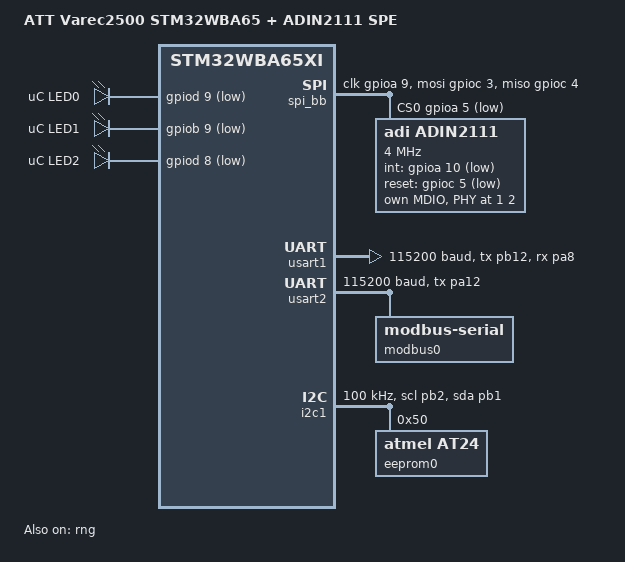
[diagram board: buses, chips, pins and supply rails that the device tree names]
/*
#include <zephyr/dt-bindings/i2c/i2c.h>
 * ATT Varec2500 board: STM32WBA65RIV6 + ADIN2111 (2-port SPE)
 * SPDX-License-Identifier: Apache-2.0
 */
/dts-v1/;
#include <st/wba/stm32wba65Xi.dtsi>
#include <st/wba/stm32wba65rivx-pinctrl.dtsi>

/ {
	model = "ATT Varec2500 STM32WBA65 + ADIN2111 SPE";
	compatible = "adi,att-wba65";

	chosen {
		zephyr,console = &usart1;
		zephyr,shell-uart = &usart1;
		zephyr,sram = &sram0;
		zephyr,flash = &flash0;
		zephyr,code-partition = &slot0_partition;
	};

	leds: leds {
		compatible = "gpio-leds";
		uc_led_0: led_0 {
			gpios = <&gpiod 9 GPIO_ACTIVE_LOW>;
			label = "uC LED0";
		};
		uc_led_1: led_1 {
			gpios = <&gpiob 9 GPIO_ACTIVE_LOW>;
			label = "uC LED1";
		};
		uc_led_2: led_2 {
			gpios = <&gpiod 8 GPIO_ACTIVE_LOW>;
			label = "uC LED2";
		};
	};

	aliases {
		led0 = &uc_led_0;
		led1 = &uc_led_1;
		led2 = &uc_led_2;
	};
};

&clk_lse { status = "okay"; };
&clk_hse {
	status = "okay";
	/delete-property/ hse-trimming;
};
&clk_hsi { status = "okay"; };

&rcc {
	clocks = <&clk_hse>;
	clock-frequency = <DT_FREQ_M(32)>;
	ahb-prescaler = <1>;
	ahb5-prescaler = <1>;
	apb1-prescaler = <1>;
	apb2-prescaler = <2>;
	apb7-prescaler = <1>;
};

&pwr { power-supply = "smps"; };

&usart1 {
	clocks = <&rcc STM32_CLOCK(APB2, 14)>,
		 <&rcc STM32_SRC_HSI16 USART1_SEL(2)>;
	pinctrl-0 = <&usart1_tx_pb12 &usart1_rx_pa8>;
	pinctrl-names = "default";
	current-speed = <115200>;
	status = "okay";
};

&flash0 {
	partitions {
		#address-cells = <1>;
		#size-cells = <1>;
		ranges;

		slot0_partition: partition@0 {
			label = "image-0";
			reg = <0x00000000 DT_SIZE_K(2048)>;
		};
	};
};

/* GPIO ports usados por el ADIN2111 (SPI bit-bang + int/reset) */
&gpioa { status = "okay"; };
&gpioc { status = "okay"; };

/ {
	/* SPI por software (bit-bang) - PA9=SCK no puede ser SPI3 HW */
	spi_bb: spi-bitbang {
		compatible = "zephyr,spi-bitbang";
		#address-cells = <1>;
		#size-cells = <0>;
		clk-gpios = <&gpioa 9 GPIO_ACTIVE_HIGH>;    /* SPI3_SCLK */
		mosi-gpios = <&gpioc 3 GPIO_ACTIVE_HIGH>;   /* SPI3_SDI  */
		miso-gpios = <&gpioc 4 GPIO_ACTIVE_HIGH>;   /* SPI3_SDO  */
		cs-gpios = <&gpioa 5 (GPIO_ACTIVE_LOW | GPIO_OPEN_DRAIN)>;      /* SPI3_NSS  */
		status = "okay";

		adin2111: adin2111@0 {
			compatible = "adi,adin2111";
			reg = <0x0>;
			spi-max-frequency = <4000000>;
			int-gpios = <&gpioa 10 GPIO_ACTIVE_LOW>;   /* ADIN_INT1 */
			reset-gpios = <&gpioc 5 GPIO_ACTIVE_LOW>;  /* ADIN_RESET */
			status = "okay";
			spi-oa;
			spi-oa-protection;

			port1 { local-mac-address = [02 00 00 ad 21 11]; };
			port2 { local-mac-address = [02 00 00 ad 21 12]; };

			mdio {
				compatible = "adi,adin2111-mdio";
				#address-cells = <1>;
				#size-cells = <0>;
				status = "okay";
				attphy1: ethernet-phy@1 { reg = <0x1>; compatible = "adi,adin2111-phy"; status = "okay"; };
				attphy2: ethernet-phy@2 { reg = <0x2>; compatible = "adi,adin2111-phy"; status = "okay"; };
			};
		};
	};
};

/* RS-485 (U21 = ADM2587E aislado). Direccion AUTOMATICA via el comparador
 * ADCMP600 (U24), que vigila la linea TX y gobierna RE/DE -> NO hace falta
 * GPIO de DE. OJO: RE y DE van atados, asi que MIENTRAS TRANSMITE el receptor
 * esta apagado -> NO hay eco local; hace falta un segundo nodo para probar.
 * El esquematico llama a estos nets UART0_TX/UART0_RX, pero en el WBA65
 * PA12/PA11 son USART2 (AF3).
 */
&usart2 {
	/* Modbus RTU sobre el RS-485 (U21 = ADM2587E).
	 * NO se declaran de-gpios/re-gpios: la direccion la conmuta solo el
	 * comparador ADCMP600 (U24) vigilando la linea TX. En el binding
	 * zephyr,modbus-serial esos pines son OPCIONALES. */
	modbus0: modbus0 {
		compatible = "zephyr,modbus-serial";
		status = "okay";
	};

	/* PA11 (RX) con pull-up: sin el, con el bus RS485 abierto la entrada flota
	 * y el UART lee basura con errores de trama. */
	pinctrl-0 = <&usart2_tx_pa12 &usart2_rx_pa11_pu>;
	pinctrl-names = "default";
	current-speed = <115200>;
	status = "okay";
};

/* variante de usart2_rx_pa11 con pull-up (el pinctrl del SoC no lo trae) */
&pinctrl {
	usart2_rx_pa11_pu: usart2_rx_pa11_pu {
		pinmux = <STM32_PINMUX('A', 11, AF3)>;
		bias-pull-up;
	};
};

/* RNG por hardware: lo necesita el cliente DHCPv4 (XID y temporizadores de reintento) */
&rng {
	status = "okay";
};

/* EEPROM IC14 = AT24C64D (8 KB) en I2C1. A0/A1/A2 a GND -> direccion 0x50.
 * WP (pin 7) a GND = proteccion de escritura DESHABILITADA -> se puede escribir.
 * Guarda la configuracion en caliente (modo, unit id Modbus, baudios...) para
 * no tener que recompilar un firmware por sensor.
 */
&i2c1 {
	pinctrl-0 = <&i2c1_scl_pb2 &i2c1_sda_pb1>;
	pinctrl-names = "default";
	clock-frequency = <I2C_BITRATE_STANDARD>;
	status = "okay";

	eeprom0: eeprom@50 {
		compatible = "atmel,at24";
		reg = <0x50>;
		size = <8192>;
		pagesize = <32>;
		address-width = <16>;
		timeout = <5>;
	};
};
